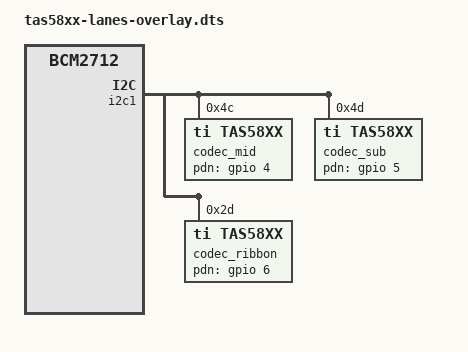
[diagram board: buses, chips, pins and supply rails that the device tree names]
// ============================================================================
// tas58xx-lanes — DRAFT — Pi 5 (RP1) MULTI-LANE I2S for the Lounge 3-way.
// ============================================================================
// Replaces the dead tas58xx-triple (TDM) overlay. See docs/lounge-multilane.md
// for the full why. Short version: neither Pi does >2-ch TDM, so we use the
// RP1's separate I2S data lanes (one stereo pair per lane, shared BCLK/LRCLK).
//
// HARDWARE WIRING (boards un-stacked, jumpered):
//   shared : BCLK  GPIO18 (pin12),  LRCLK GPIO19 (pin35),  I2C GPIO2/3,  GND
//   lane D0: SDO0  GPIO21 (pin40) <- X2 board SDIN  (mid 0x4c + sub 0x4d)
//   lane D1: SDO1  GPIO23 (pin16) <- ribbon board SDIN (0x2d)
//   (RP1 i2s0 SDO lanes = GPIO 21/23/25/27 = D0/D1/D2/D3, docs-confirmed.
//    GPIO23 carries the on-board IR when STACKED; un-stacked + un-wired it's
//    free, so D1 is fine here.)
//
//   ALSA ch  lane   driver / role
//   0  L     SDO0   mid 0x4c (stereo) + sub 0x4d (mono) read the SAME pair
//   1  R     SDO0
//   2  L     SDO1   ribbon 0x2d (stereo)
//   3  R     SDO1
//
// CHIP ROLES (the sub<->mid ~120 Hz split is IN-CHIP; mid<->ribbon ~3 kHz is in
// CamillaDSP — config/camilladsp/lounge.yml):
//   mid 0x4c   : stereo,  ti,eq-mode = HF-crossover (~120 Hz high-pass)
//   sub 0x4d   : PBTL mono, ti,eq-mode = LF-crossover (~120 Hz low-pass)
//   ribbon 0x2d: stereo,  flat (CamillaDSP high-passes it)
//
// !!! OPEN QUESTIONS — confirm before trusting output (and good Qs for Andriy):
//   (A) The generic simple-audio-card multi-codec link below assumes the RP1
//       i2s driver spreads a 4-ch stream as ch0/1->SDO0, ch2/3->SDO1, and that
//       each codec just reads whichever SDO pin it's physically wired to. The
//       HiFiBerry DAC8x needed a CUSTOM driver (rpi-simple-soundcard) for this
//       lane mapping with DUMB codecs. With I2C codecs (TAS) it may need the
//       same framework or a per-lane dai-link. THIS IS THE KEY THING TO TEST.
//   (B) Exact RP1 DT node names / pinctrl group for a 2-lane subset mux
//       (GPIO 18/19/21/23). Model is the hifiberry-dac8x overlay (muxes 18-27).
//   (C) eq-mode crossover frequency: the driver's HF/LF-crossover profiles bake
//       the freq into a DSP blob; ~120 Hz may need a custom coefficient set.
//
// Until tested, treat as a starting point, not a working overlay.
// dtc -I dts -O dtb -@ -o /boot/firmware/overlays/tas58xx-lanes.dtbo tas58xx-lanes-overlay.dts
/dts-v1/;
/plugin/;

/ {
    compatible = "brcm,bcm2712";

    // ── I2C: declare the three codecs (config bus; distinct addresses) ──────
    fragment@0 {
        target = <&i2c1>;
        __overlay__ {
            status = "okay";
            #address-cells = <1>;
            #size-cells = <0>;

            codec_mid: tas58xx@4c {        // X2 chip A — Mids (stereo)
                #sound-dai-cells = <0>;
                compatible = "ti,tas58xx";
                reg = <0x4c>;
                pdn-gpios = <&gpio 4 0>;
                sound-name-prefix = "Mid";
                ti,eq-mode = <3>;          // HF crossover (~120 Hz high-pass) — DRAFT
                ti,mixer-mode = <0>;       // Stereo
            };
            codec_sub: tas58xx@4d {        // X2 chip B — Sub (mono PBTL)
                #sound-dai-cells = <0>;
                compatible = "ti,tas58xx";
                reg = <0x4d>;
                pdn-gpios = <&gpio 5 0>;
                sound-name-prefix = "Sub";
                ti,bridge-mode;            // PBTL
                ti,eq-mode = <2>;          // LF crossover (~120 Hz low-pass) — DRAFT
                ti,mixer-mode = <1>;       // Mono (L+R sum)
                ti,analog-gain = <0x0b>;   // -5.5 dB, conservative
            };
            codec_ribbon: tas58xx@2d {     // ribbon board — flat (stereo)
                #sound-dai-cells = <0>;
                compatible = "ti,tas58xx";
                reg = <0x2d>;
                pdn-gpios = <&gpio 6 0>;
                sound-name-prefix = "Ribbon";
                ti,eq-mode = <0>;          // OFF — CamillaDSP does the HP
                ti,mixer-mode = <0>;       // Stereo
                ti,analog-gain = <0x10>;   // -8 dB, conservative (flat ribbon)
            };
        };
    };

    // ── I2S0 (RP1 clock producer) + 2-lane pinctrl ──────────────────────────
    // NOTE: node/label names modelled on hifiberry-dac8x; verify against the
    // Pi 5 base DT. Subset mux of GPIO 18/19/21/23 = clk, ws, SDO0, SDO1.
    fragment@1 {
        target = <&rp1_i2s0>;
        __dormant__ {                      // enable once node name confirmed
            status = "okay";
        };
    };

    // ── Card: 4-ch, plain I2S (NOT TDM), 3 codecs across 2 lanes ────────────
    fragment@2 {
        target = <&sound>;
        __overlay__ {
            status = "okay";
            compatible = "simple-audio-card";
            label = "LouderLanes";
            simple-audio-card,name = "LouderLanes";
            simple-audio-card,format = "i2s";
            simple-audio-card,bitclock-master = <&snd_cpu>;
            simple-audio-card,frame-master = <&snd_cpu>;

            snd_cpu: simple-audio-card,cpu {
                sound-dai = <&i2s_clk_producer>;
                // 4 channels => RP1 maps pair0->SDO0 (GPIO21), pair1->SDO1 (GPIO23)
            };
            // OPEN (A): one multi-codec link, OR one dai-link per lane?
            simple-audio-card,codec {
                sound-dai = <&codec_mid>, <&codec_sub>, <&codec_ribbon>;
            };
        };
    };

    __overrides__ {
        i2creg_mid    = <&codec_mid>,"reg:<>";
        i2creg_sub    = <&codec_sub>,"reg:<>";
        i2creg_ribbon = <&codec_ribbon>,"reg:<>";
    };
};
